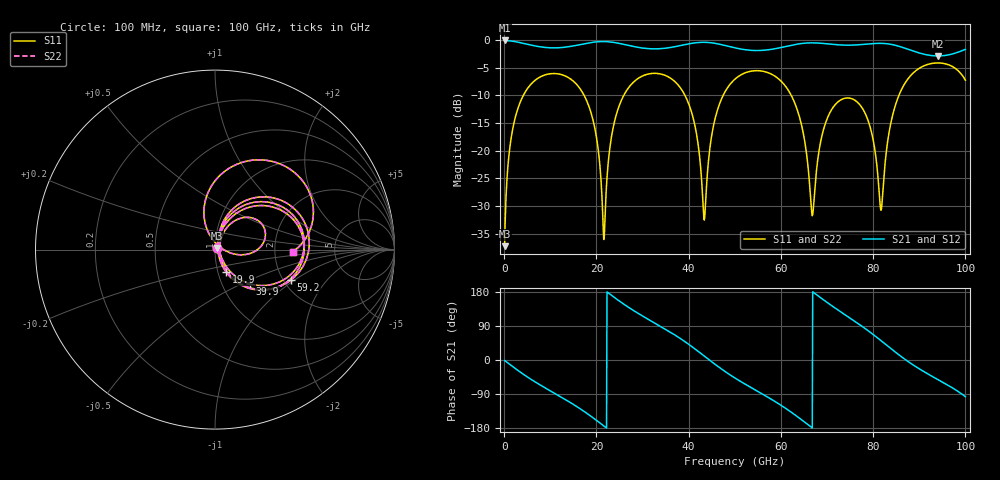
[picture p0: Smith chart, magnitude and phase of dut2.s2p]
! Touchstone file exported from HFSS 2026.1.0
!  File:  C:/ffzhzh/LocalFiles/Ansys_Project_Files/temp_train_TSV_RDL_2_1783611041_33328.aedt
!  Generated:  11:39:15 PM Jul  9, 2026
!  Design:  TSV_RDL
!  Project:  temp_train_TSV_RDL_2_1783611041_33328
! Variables:
!  h_bsmrdl = 3.28um
!  h_ox = 20um
!  h_rdl = 5um
!  h_sub = 78.01um
!  h_tmrdl = 4.25um
!  h_tsv = 78.01um
!  h_via = 3um
!  l_bsmrdl = 415.08um
!  l_sub = 2650.82um
!  l_tmrdl = 216.61um
!  m_sub = 200um
!  pitch = 55.82um
!  r_tsv = 11.51um
!  s_tmrdl = 10um
!  w_bsmrdl = 25.39um
!  w_sub = 500um
!  w_tmrdl = 20.99um
!  x_tsv_center1 = 227.105um
!  x_tsv_center2 = 667.575um
!  x_tsv_center3 = 905.175um
!  x_tsv_center4 = 1345.645um
!  x_tsv_center5 = 1583.245um
!  x_tsv_center6 = 2023.715um
# GHz S MA R 50.000000
! Terminal data exported
! Port[1] = TM_RDL1_1_T1
! Port[2] = TM_RDL5_1_T1
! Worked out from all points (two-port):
!   1000 points, 100 MHz to 100 GHz, reference 50 ohm
!   highest |S21| = -0.09 dB at 100 MHz (marker M1); lowest = -2.9 dB at 94.1 GHz (marker M2)
!   |S21| within 3 dB of the highest: start of sweep to end of sweep
!   lowest |S11| = -37.3 dB at 100 MHz (marker M3), VSWR 1.03, Z = 51 + j0.943 ohm
!   |S11| at or under -10 dB: 17.33 GHz to 25.94 GHz (8.613 GHz wide, 39.8 % of centre); 39.19 GHz to 47.49 GHz (8.295 GHz wide, 19.1 % of centre); 62.23 GHz to 85.59 GHz (23.36 GHz wide, 31.6 % of centre) (the widest 3 of 4)
!   |S22| runs from -37.3 to -4.1 dB; largest |S21 - S12| = 6.6e-14
!   S11 on the Smith chart (normalised r, x): 100 MHz: 1.02, +0.02; 19.9 GHz: 1.10, -0.28; 39.9 GHz: 1.35, -0.56; 59.2 GHz: 2.19, -0.94; 100 GHz: 2.52, -0.08
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0.1  0.0137 42.4  0.99 -1.0  0.99 -1.0  0.0137 42.4
! Gamma 0 0 0 0
! Port Impedance 50 0 50 0
1.6  0.1365 69.2  0.9771 -15.1  0.9771 -15.1  0.1365 69.2
4.5  0.335 46.7  0.9253 -40.4  0.9253 -40.4  0.335 46.7
16.8  0.3454 -40.8  0.9144 -131.3  0.9144 -131.3  0.3454 -40.8
19.9  0.1409 -63.5  0.9606 -158.2  0.9606 -158.2  0.1409 -63.4
21.7  0.01649 23.6  0.9674 -174.8  0.9674 -174.8  0.01677 23.5
25.1  0.2647 60.4  0.9286 154.4  0.9286 154.4  0.2648 60.3
33.4  0.4971 1.7  0.8324 92.3  0.8324 92.3  0.4972 1.7
39.9  0.2725 -44.4  0.9204 42.4  0.9204 42.4  0.2726 -44.4
43.4  0.02359 12.1  0.9527 10.3  0.9527 10.3  0.02358 11.8
45.8  0.1996 70.8  0.9311 -12.0  0.9311 -12.0  0.1995 70.7
50.1  0.4449 39.6  0.8478 -48.0  0.8478 -48.0  0.4449 39.6
59.2  0.4556 -21.8  0.841 -113.1  0.841 -113.1  0.4556 -21.9
64  0.2033 -56.6  0.9235 -153.3  0.9235 -153.3  0.2032 -56.6
66.7  0.02712 -15.9  0.9418 -178.2  0.9418 -178.2  0.02731 -15.8
72.3  0.2741 39.8  0.905 132.6  0.905 132.6  0.274 39.7
78.4  0.2114 -4.2  0.9165 81.8  0.9165 81.8  0.2113 -4.4
81.7  0.02892 48.0  0.9322 51.2  0.9322 51.2  0.02806 48.1
83.4  0.1417 111.0  0.9199 34.6  0.9199 34.6  0.1417 111.3
87.3  0.4307 84.1  0.8314 -1.7  0.8314 -1.7  0.4307 84.1
94.1  0.6203 37.9  0.7174 -51.9  0.7174 -51.9  0.6203 37.8
100  0.433 -1.6  0.8225 -96.8  0.8225 -96.8  0.4329 -1.9
